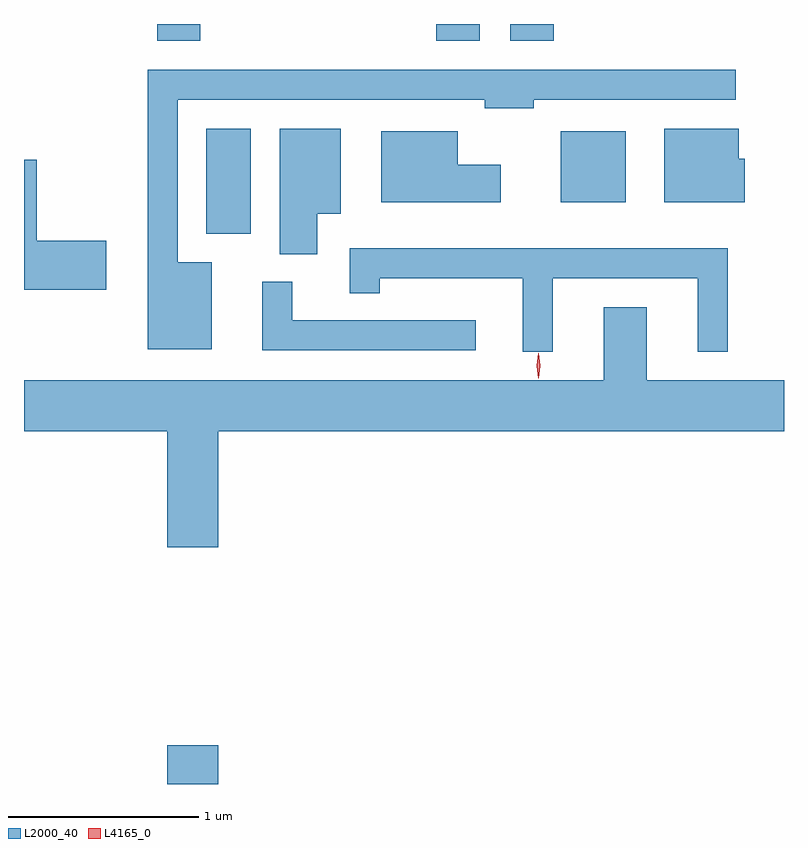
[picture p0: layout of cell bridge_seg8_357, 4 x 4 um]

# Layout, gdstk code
import gdstk
lib = gdstk.Library(unit=1e-6, precision=1e-09)
def R(c, l, rs):  # rectangles x0, y0, x1, y1
    for r in rs: c.add(gdstk.rectangle(r[:2], r[2:], *l))
def P(c, l, *ps):  # polygons
    for p in ps: c.add(gdstk.Polygon(p, *l))
L2000_40 = (2000, 40)
L4165_0 = (4165, 0)

bridge_seg8_357 = lib.new_cell('bridge_seg8_357')
R(bridge_seg8_357, L2000_40, [(814.476,1890.059,814.744,1890.264), (814.681,1892.956,814.914,1893.509), (816.546,1893.121,816.889,1893.494), (814.421,1893.971,814.649,1894.059), (815.891,1893.971,816.119,1894.059), (816.281,1893.971,816.509,1894.059)])
P(bridge_seg8_357, L2000_40, [(814.709,1892.804),(814.529,1892.804),(814.529,1893.661),(816.146,1893.661),(816.146,1893.616),(816.404,1893.616),(816.404,1893.661),(817.468,1893.661),(817.468,1893.819),(814.371,1893.819),(814.371,1892.346),(814.709,1892.346)],
  [(817.514,1893.349),(817.484,1893.349),(817.484,1893.509),(817.091,1893.509),(817.091,1893.121),(817.514,1893.121)],
  [(815.264,1893.061),(815.389,1893.061),(815.389,1893.509),(815.066,1893.509),(815.066,1892.846),(815.264,1892.846)],
  [(816.229,1893.319),(816.004,1893.319),(816.004,1893.494),(815.601,1893.494),(815.601,1893.121),(816.229,1893.121)],
  [(814.154,1892.919),(813.789,1892.919),(813.789,1893.344),(813.721,1893.344),(813.721,1892.661),(814.154,1892.661)],
  [(816.504,1892.721),(817.266,1892.721),(817.266,1892.333),(817.424,1892.333),(817.424,1892.879),(815.436,1892.879),(815.436,1892.643),(815.594,1892.643),(815.594,1892.721),(816.346,1892.721),(816.346,1892.333),(816.504,1892.333)],
  [(816.098,1892.499),(815.134,1892.499),(815.134,1892.703),(814.976,1892.703),(814.976,1892.341),(816.098,1892.341)],
  [(814.744,1891.916),(817.721,1891.916),(817.721,1892.184),(816.999,1892.184),(816.999,1892.569),(816.771,1892.569),(816.771,1892.184),(813.721,1892.184),(813.721,1891.916),(814.476,1891.916),(814.476,1891.306),(814.744,1891.306)])
P(bridge_seg8_357, L4165_0, [(816.429,1892.194),(816.428,1892.195),(816.419,1892.26),(816.428,1892.326),(816.428,1892.327),(816.429,1892.326),(816.439,1892.261),(816.429,1892.195)])

lib.write_gds('bridge_seg8_357.gds')
